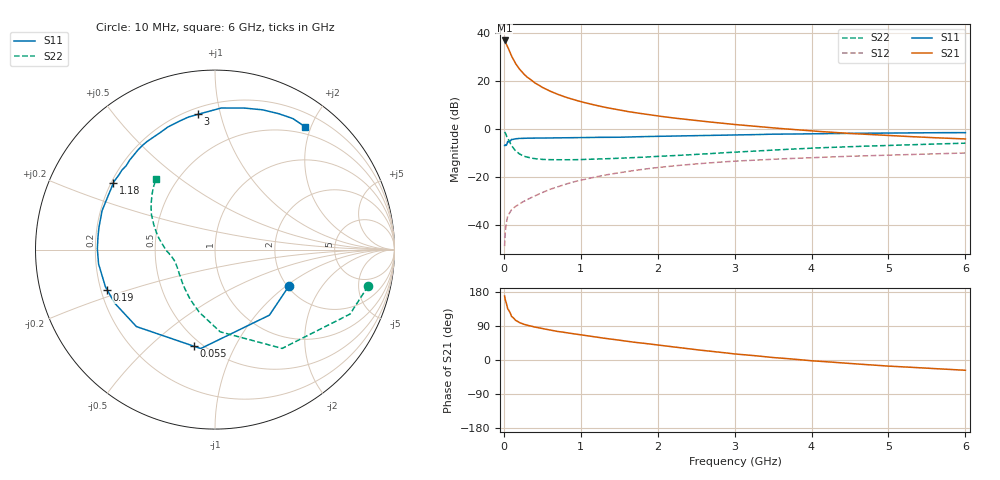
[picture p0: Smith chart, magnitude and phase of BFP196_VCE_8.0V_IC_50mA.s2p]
! Infineon Technologies  Discrete & RF Semiconductors
! BFP196
! VCE = 8.0 V,  IC =  50mA
! Common Emitter S-Parameters:  Jan 2016
# GHz  S  MA  R  50
!  f  S11  S21  S12  S22
! GHz  MAG  ANG  MAG  ANG  MAG  ANG  MAG  ANG
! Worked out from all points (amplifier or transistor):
!   210 points, 10 MHz to 6 GHz, reference 50 ohm
!   highest |S21| = 36.9 dB at 10 MHz (marker M1)
!   |S21| within 3 dB of that: start of sweep to 54.32 MHz
!   unconditionally stable (mu >= 1): 500.5 MHz to 4.721 GHz
!   at 185 MHz: K = 0.66, MSG = 28.7 dB, |S12| = -31.5 dB
!   at 1.52 GHz: K = 1.09, MAG = 11.1 dB, |S12| = -18.0 dB
!   at 6 GHz: K = 0.98, MSG = 2.9 dB, |S12| = -9.9 dB
!   S11 on the Smith chart (normalised r, x): 10 MHz: 2.03, -1.05; 55 MHz: 0.45, -0.70; 190 MHz: 0.23, -0.17; 1.18 GHz: 0.21, +0.29; 3 GHz: 0.24, +0.85; 6 GHz: 0.39, +1.91
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0.01  0.4589 -26.5  70.18 168.9  0.0037 78.5  0.8771 -13.4
0.02  0.4746 -50.3  65.67 158.0  0.0077 71.7  0.8337 -25.5
0.05  0.557 -98.2  51.43 135.2  0.0156 56.8  0.6657 -55.8
0.055  0.5512 -102.1  49.41 133.9  0.0161 55.5  0.6391 -57.9
0.1  0.6129 -135.6  33.12 115.1  0.0212 47.1  0.459 -86.4
0.15  0.6336 -151.9  23.49 105.0  0.0247 47.3  0.3594 -104.2
0.19  0.6411 -159.5  19.17 100.5  0.0269 48.4  0.3181 -113.8
0.2  0.6447 -161.4  18.11 99.0  0.0275 48.6  0.3094 -116.6
0.24  0.6455 -167.1  15.26 95.9  0.0304 50.1  0.2842 -124.1
0.3  0.6536 -172.9  12.24 91.7  0.0342 53.8  0.2637 -132.6
0.4  0.6555 179.6  9.272 87.0  0.0408 57.0  0.2446 -142.8
0.5  0.6558 174.5  7.425 82.9  0.0482 58.6  0.236 -149.5
0.7  0.66 164.7  5.328 75.3  0.0633 60.4  0.2317 -157.6
1.02  0.6675 152.5  3.677 65.6  0.0887 59.2  0.2345 -165.1
1.18  0.6769 146.9  3.19 61.1  0.1009 57.8  0.2392 -167.8
1.6  0.6889 133.7  2.35 49.5  0.1322 52.8  0.2538 -173.8
2.02  0.7115 121.7  1.872 39.0  0.1609 46.9  0.273 -179.8
3  0.7596 97.2  1.256 16.0  0.2169 32.9  0.3332 165.3
3.1  0.7638 95.2  1.215 14.3  0.2209 31.4  0.3399 163.7
4.1  0.8074 77.0  0.9 -3.3  0.2598 18.9  0.4107 149.8
5.1  0.8382 63.8  0.727 -17.1  0.2928 7.9  0.4657 138.9
6  0.8489 53.7  0.628 -27.1  0.3208 -1.8  0.5129 129.7
